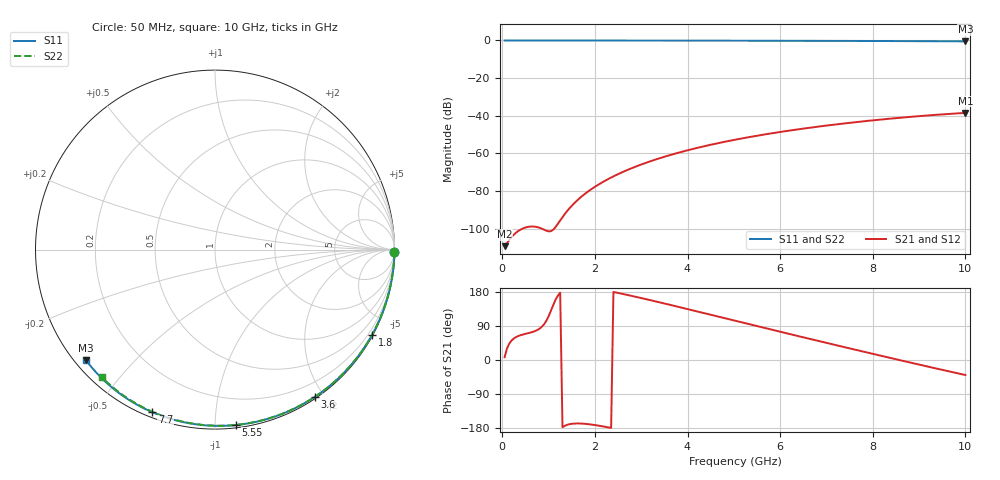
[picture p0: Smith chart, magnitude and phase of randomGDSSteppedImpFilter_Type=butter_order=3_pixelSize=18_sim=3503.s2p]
! freq	dB(S11)	phase(S11)	dB(S12)	phase(S12)
!  dB(S21)	phase(S21)	dB(S22)	phase(S22)
!S-par simulation data
#  GHz  S  DB  R 50
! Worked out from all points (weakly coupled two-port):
!   200 points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, 50 MHz to 10 GHz, reference 50 ohm
!   highest |S21| = -38.45 dB at 10 GHz (marker M1); lowest = -109.2 dB at 50 MHz (marker M2)
!   lowest |S11| = -0.5 dB at 10 GHz (marker M3), VSWR 36.53, Z = 1.56 - j18.5 ohm
!   |S11| at or under -10 dB: nowhere
!   |S22| runs from -0.4 to 0.0 dB; largest |S21 - S12| = 0
!   S11 on the Smith chart (normalised r, x): 50 MHz: open; 1.8 GHz: 0.03, -3.93; 3.6 GHz: 0.02, -1.89; 5.55 GHz: 0.02, -1.13; 7.7 GHz: 0.02, -0.69; 10 GHz: 0.03, -0.37
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0.05  -0.00 -0.8  -109.23 7.3  -109.23 7.3  -0.00 -0.8
0.45  -0.01 -7.2  -99.77 67.4  -99.77 67.4  -0.01 -6.8
0.9  -0.02 -14.4  -100.44 93.9  -100.44 93.9  -0.02 -13.6
1.75  -0.04 -27.8  -82.10 -168.1  -82.10 -168.1  -0.03 -26.2
1.8  -0.04 -28.6  -81.14 -168.6  -81.14 -168.6  -0.03 -27.0
1.85  -0.04 -29.3  -80.23 -169.2  -80.23 -169.2  -0.04 -27.7
2.25  -0.05 -35.5  -74.07 -176.9  -74.07 -176.9  -0.04 -33.5
2.45  -0.05 -38.6  -71.55 178.3  -71.55 178.3  -0.05 -36.4
2.65  -0.05 -41.6  -69.31 173.1  -69.31 173.1  -0.05 -39.3
3  -0.06 -46.9  -65.87 163.5  -65.87 163.5  -0.06 -44.3
3.4  -0.07 -52.8  -62.51 152.1  -62.51 152.1  -0.07 -49.9
3.6  -0.08 -55.8  -61.01 146.2  -61.01 146.2  -0.07 -52.7
3.9  -0.08 -60.2  -58.96 137.3  -58.96 137.3  -0.08 -56.8
4.3  -0.09 -65.9  -56.50 125.4  -56.50 125.4  -0.09 -62.3
5.05  -0.12 -76.4  -52.59 102.9  -52.59 102.9  -0.11 -72.2
5.55  -0.14 -83.2  -50.38 88.0  -50.38 88.0  -0.13 -78.7
6.1  -0.16 -90.6  -48.22 71.6  -48.22 71.6  -0.15 -85.7
6.7  -0.19 -98.4  -46.14 54.0  -46.14 54.0  -0.18 -93.1
7.7  -0.25 -111.1  -43.19 24.9  -43.19 24.9  -0.24 -105.1
8.35  -0.31 -119.2  -41.58 6.2  -41.58 6.2  -0.29 -112.7
9.2  -0.39 -129.6  -39.79 -17.7  -39.79 -17.7  -0.36 -122.4
10  -0.48 -139.3  -38.45 -39.6  -38.45 -39.6  -0.44 -131.5
